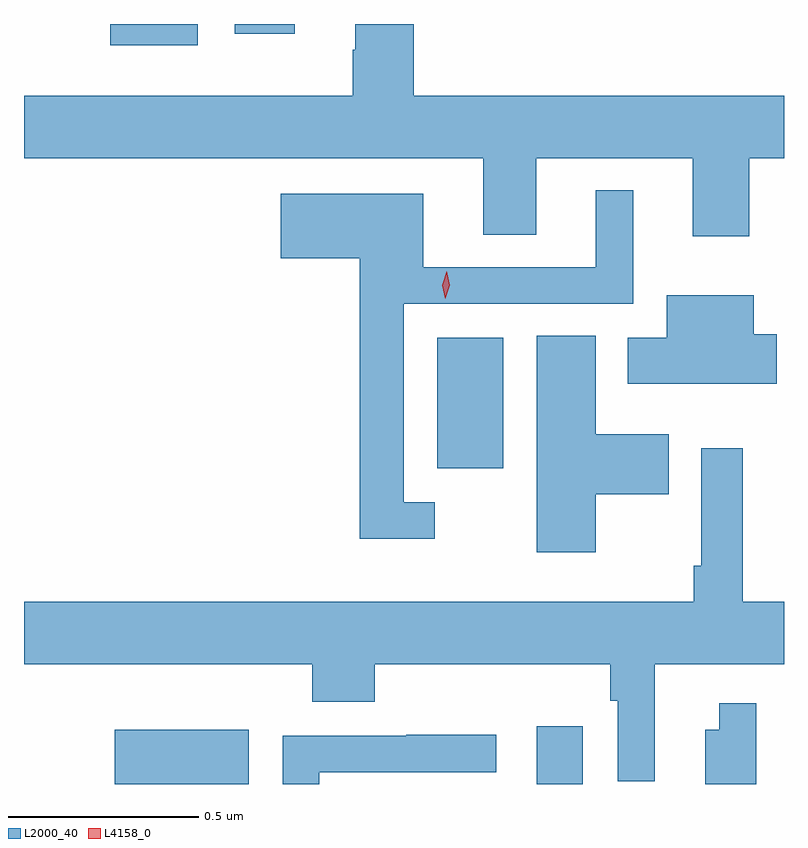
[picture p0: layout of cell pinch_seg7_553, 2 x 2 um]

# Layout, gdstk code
import gdstk
lib = gdstk.Library(unit=1e-6, precision=1e-09)
def R(c, l, rs):  # rectangles x0, y0, x1, y1
    for r in rs: c.add(gdstk.rectangle(r[:2], r[2:], *l))
def P(c, l, *ps):  # polygons
    for p in ps: c.add(gdstk.Polygon(p, *l))
L2000_40 = (2000, 40)
L4158_0 = (4158, 0)

pinch_seg7_553 = lib.new_cell('pinch_seg7_553')
R(pinch_seg7_553, L2000_40, [(120.518,1060.241,120.871,1060.384), (121.628,1060.241,121.75,1060.393), (121.367,1061.072,121.54,1061.416), (120.506,1062.185,120.736,1062.241), (120.833,1062.216,120.991,1062.241)])
P(pinch_seg7_553, L2000_40, [(122.187,1061.888),(122.279,1061.888),(122.279,1062.052),(121.304,1062.052),(121.304,1062.241),(121.151,1062.241),(121.151,1062.173),(121.144,1062.173),(121.144,1062.052),(120.279,1062.052),(120.279,1061.888),(121.487,1061.888),(121.487,1061.686),(121.627,1061.686),(121.627,1061.888),(122.039,1061.888),(122.039,1061.682),(122.187,1061.682)],
  [(121.36,1060.983),(121.278,1060.983),(121.278,1061.505),(121.882,1061.505),(121.882,1061.803),(121.784,1061.803),(121.784,1061.601),(121.33,1061.601),(121.33,1061.794),(120.954,1061.794),(120.954,1061.624),(121.162,1061.624),(121.162,1060.886),(121.36,1060.886)],
  [(122.26,1061.424),(122.2,1061.424),(122.2,1061.527),(121.97,1061.527),(121.97,1061.416),(121.868,1061.416),(121.868,1061.294),(122.26,1061.294)],
  [(121.783,1061.003),(121.976,1061.003),(121.976,1061.161),(121.783,1061.161),(121.783,1061.42),(121.628,1061.42),(121.628,1060.851),(121.783,1060.851)],
  [(121.939,1060.556),(122.279,1060.556),(122.279,1060.72),(122.17,1060.72),(122.17,1061.125),(122.061,1061.125),(122.061,1060.816),(122.041,1060.816),(122.041,1060.72),(120.279,1060.72),(120.279,1060.556),(121.037,1060.556),(121.037,1060.457),(121.202,1060.457),(121.202,1060.556),(121.822,1060.556),(121.822,1060.46),(121.842,1060.46),(121.842,1060.248),(121.939,1060.248)],
  [(122.206,1060.453),(122.108,1060.453),(122.108,1060.384),(122.072,1060.384),(122.072,1060.241),(122.206,1060.241)],
  [(121.056,1060.272),(121.522,1060.272),(121.522,1060.37),(121.285,1060.37),(121.285,1060.368),(120.96,1060.368),(120.96,1060.241),(121.056,1060.241)])
P(pinch_seg7_553, L4158_0, [(121.387,1061.518),(121.387,1061.518),(121.379,1061.554),(121.392,1061.59),(121.392,1061.59),(121.392,1061.59),(121.399,1061.553),(121.387,1061.518)])

lib.write_gds('pinch_seg7_553.gds')
